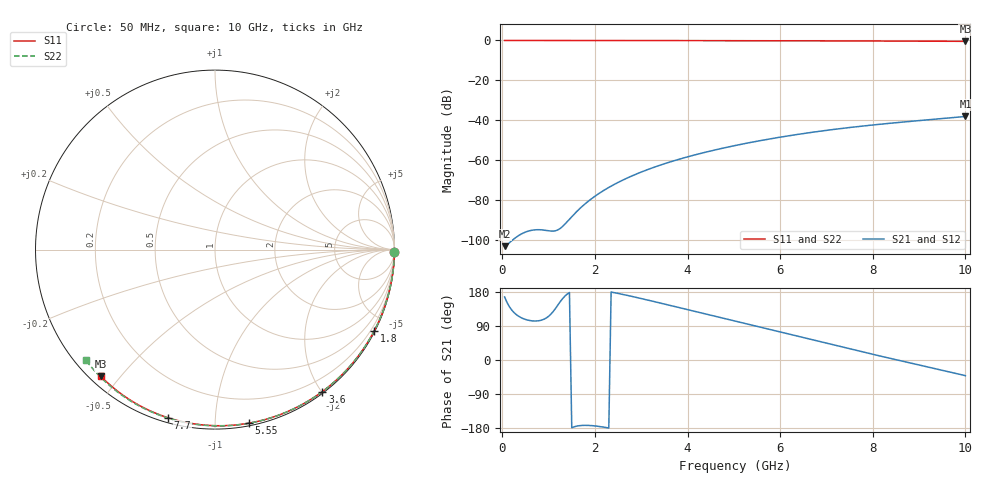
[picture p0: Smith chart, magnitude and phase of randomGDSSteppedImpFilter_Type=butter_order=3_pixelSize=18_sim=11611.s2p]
! freq	dB(S11)	phase(S11)	dB(S12)	phase(S12)
!  dB(S21)	phase(S21)	dB(S22)	phase(S22)
!S-par simulation data
#  GHz  S  DB  R 50
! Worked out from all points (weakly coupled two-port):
!   200 points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, 50 MHz to 10 GHz, reference 50 ohm
!   highest |S21| = -38.08 dB at 10 GHz (marker M1); lowest = -103.0 dB at 50 MHz (marker M2)
!   lowest |S11| = -0.4 dB at 10 GHz (marker M3), VSWR 39.00, Z = 1.54 - j22.2 ohm
!   |S11| at or under -10 dB: nowhere
!   |S22| runs from -0.5 to 0.0 dB; largest |S21 - S12| = 0
!   S11 on the Smith chart (normalised r, x): 50 MHz: open; 1.8 GHz: 0.04, -4.15; 3.6 GHz: 0.02, -2.01; 5.55 GHz: 0.02, -1.21; 7.7 GHz: 0.02, -0.76; 10 GHz: 0.03, -0.44
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0.05  -0.00 -0.8  -103.02 166.4  -103.02 166.4  -0.00 -0.8
0.45  -0.01 -6.9  -96.46 109.3  -96.46 109.3  -0.01 -7.3
0.9  -0.02 -13.7  -94.98 107.6  -94.98 107.6  -0.02 -14.5
1.75  -0.03 -26.3  -82.58 -172.5  -82.58 -172.5  -0.04 -27.9
1.8  -0.03 -27.1  -81.58 -172.4  -81.58 -172.4  -0.04 -28.7
1.9  -0.04 -28.5  -79.73 -172.8  -79.73 -172.8  -0.04 -30.3
2.05  -0.04 -30.7  -77.22 -174.7  -77.22 -174.7  -0.04 -32.6
2.25  -0.04 -33.7  -74.27 -178.4  -74.27 -178.4  -0.05 -35.7
2.45  -0.05 -36.6  -71.69 176.9  -71.69 176.9  -0.05 -38.8
2.65  -0.05 -39.5  -69.39 171.8  -69.39 171.8  -0.05 -41.8
3  -0.06 -44.5  -65.90 162.2  -65.90 162.2  -0.06 -47.1
3.4  -0.07 -50.1  -62.51 150.6  -62.51 150.6  -0.07 -53.1
3.6  -0.07 -52.9  -61.01 144.8  -61.01 144.8  -0.08 -56.0
4.3  -0.09 -62.5  -56.47 124.1  -56.47 124.1  -0.09 -66.2
5.05  -0.11 -72.5  -52.51 102.0  -52.51 102.0  -0.12 -76.7
5.55  -0.13 -79.0  -50.26 87.2  -50.26 87.2  -0.14 -83.5
6.1  -0.15 -86.0  -48.06 70.9  -48.06 70.9  -0.16 -90.9
6.7  -0.18 -93.5  -45.96 53.1  -45.96 53.1  -0.19 -98.7
7.7  -0.24 -105.5  -43.07 23.7  -43.07 23.7  -0.26 -111.4
8.35  -0.29 -113.2  -41.52 5.0  -41.52 5.0  -0.31 -119.5
9.2  -0.36 -123.0  -39.71 -18.7  -39.71 -18.7  -0.39 -129.8
10  -0.45 -132.1  -38.08 -41.4  -38.08 -41.4  -0.47 -139.6
